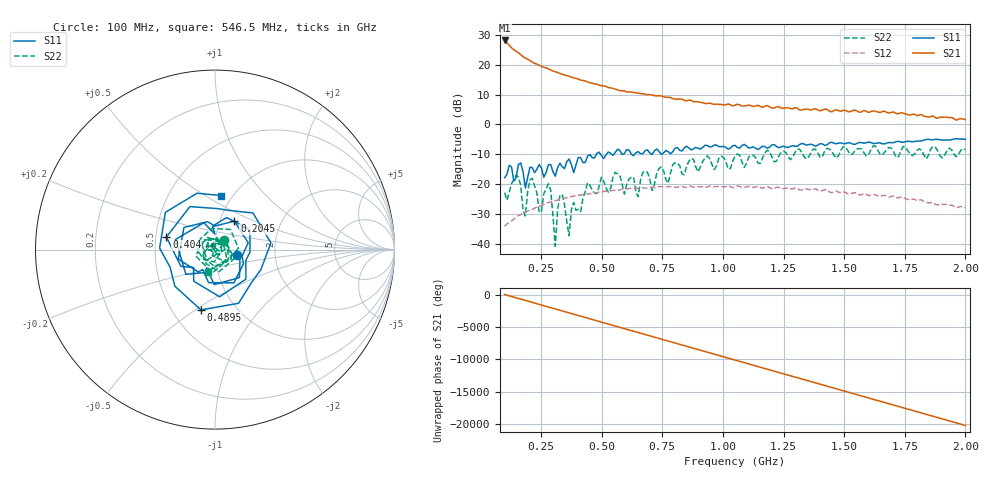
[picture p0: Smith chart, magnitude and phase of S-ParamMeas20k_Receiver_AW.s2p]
!Keysight Technologies,N5242B,MY48420967,A.15.65.19
!Date: Friday, February 03, 2023 23:45:38
!Correction: S11(C  1-Port  )
!S21(Off)
!S12(Off)
!S22(Off)
!S2P File: Measurements: S11, S21, S12, S22:
# Hz S  dB  R 50
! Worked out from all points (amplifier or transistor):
!   201 points, 100 MHz to 2 GHz, reference 50 ohm
!   highest |S21| = 28.2 dB at 100 MHz (marker M1)
!   |S21| within 3 dB of that: start of sweep to 136.4 MHz
!   unconditionally stable (mu >= 1): start of sweep to end of sweep
!   at 413.5 MHz: K = 1.45, MAG = 15.3 dB, |S12| = -23.7 dB
!   at 1.05 GHz: K = 2.11, MAG = 7.7 dB, |S12| = -20.9 dB
!   at 2 GHz: K = 5.84, MAG = 4.1 dB, |S12| = -27.9 dB
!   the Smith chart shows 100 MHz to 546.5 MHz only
!   S11 on the Smith chart (normalised r, x): 100 MHz: 1.28, -0.08; 204.5 MHz: 1.17, +0.39; 404 MHz: 0.57, +0.09; 489.5 MHz: 0.69, -0.53; 546.5 MHz: 0.89, +0.59
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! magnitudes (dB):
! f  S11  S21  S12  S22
! 100 MHz  -17.9  28.2  -34.2  -22.9
! 157 MHz  -13.4  24.1  -30.6  -17.7
! 185.5 MHz  -21.3  22.3  -29.5  -30.7
! 204.5 MHz  -14.3  21.5  -28.7  -18.5
! 242.5 MHz  -13.4  19.9  -27.4  -29.5
! 280.5 MHz  -13.5  18.7  -26.1  -19.9
! 309 MHz  -17.4  17.7  -25.6  -40.8
! 328 MHz  -13.0  17.1  -25.2  -23.9
! 366 MHz  -11.6  16.2  -24.3  -37.3
! 385 MHz  -16.2  15.7  -24.1  -26.2
! 404 MHz  -11.1  15.3  -23.7  -28.5
! 423 MHz  -12.8  14.8  -23.5  -24.8
! 489.5 MHz  -9.2  13.3  -22.8  -20.8
! 546.5 MHz  -10.4  12.2  -22.1  -17.8
! 651 MHz  -9.1  10.5  -21.4  -24.2
! 670 MHz  -9.8  10.3  -21.3  -16.1
! 708 MHz  -10.1  9.9  -21.1  -22.1
! 736.5 MHz  -9.0  9.7  -20.9  -14.7
! 1.05 GHz  -7.0  6.5  -20.9  -10.7
! 1.373 GHz  -6.9  5.1  -21.7  -8.3
! 1.687 GHz  -6.0  3.8  -24.4  -7.7
! 2 GHz  -5.0  1.7  -27.9  -8.5
